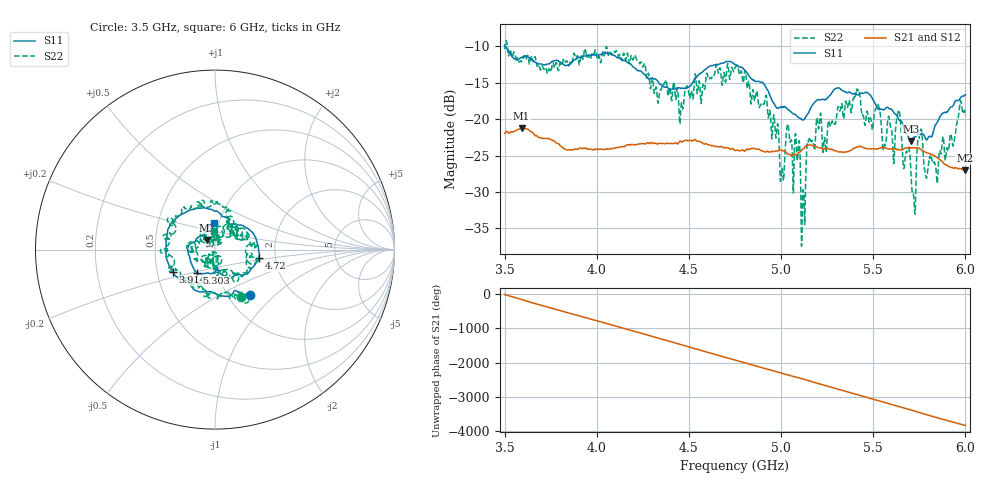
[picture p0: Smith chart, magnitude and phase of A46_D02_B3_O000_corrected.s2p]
! Created with skrf 1.9.0 (http://scikit-rf.org).
# Hz S RI R 50.0
!freq ReS11 ImS11 ReS21 ImS21 ReS12 ImS12 ReS22 ImS22
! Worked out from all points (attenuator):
!   1601 points, 3.5 GHz to 6 GHz, reference 50 ohm
!   highest |S21| = -21.27 dB at 3.592 GHz (marker M1); lowest = -27.0 dB at 5.997 GHz (marker M2)
!   lowest |S11| = -23.0 dB at 5.703 GHz (marker M3), VSWR 1.15, Z = 45.3 + j4.85 ohm
!   |S11| at or under -10 dB: 3.504 GHz to end of sweep
!   |S22| runs from -37.4 to -9.2 dB; largest |S21 - S12| = 0.00093
!   S11 on the Smith chart (normalised r, x): 3.5 GHz: 1.25, -0.71; 3.914 GHz: 0.60, -0.16; 4.72 GHz: 1.63, -0.17; 5.303 GHz: 0.79, -0.21; 6 GHz: 0.95, +0.28
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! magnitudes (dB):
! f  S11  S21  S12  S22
! 3.5 GHz  -9.9  -22.0  -21.9  -10.4
! 3.592 GHz  -11.5  -21.3  -21.3  -12.1
! 3.914 GHz  -11.5  -24.0  -23.9  -11.3
! 3.917 GHz  -11.5  -24.0  -24.0  -11.2
! 4.334 GHz  -15.0  -23.4  -23.3  -17.6
! 4.72 GHz  -12.1  -24.1  -24.1  -14.5
! 4.75 GHz  -12.5  -24.3  -24.2  -13.0
! 4.914 GHz  -15.5  -24.5  -24.5  -17.1
! 5.005 GHz  -18.3  -24.3  -24.3  -26.8
! 5.034 GHz  -18.6  -24.8  -24.7  -20.8
! 5.088 GHz  -19.6  -24.8  -24.8  -25.8
! 5.119 GHz  -20.1  -24.1  -24.0  -29.7
! 5.167 GHz  -18.2  -23.6  -23.6  -23.1
! 5.303 GHz  -15.8  -24.4  -24.4  -19.3
! 5.584 GHz  -18.5  -24.1  -24.1  -19.6
! 5.638 GHz  -20.0  -24.2  -24.2  -18.8
! 5.703 GHz  -23.0  -24.0  -23.9  -26.5
! 5.72 GHz  -22.5  -23.9  -23.9  -30.6
! 5.753 GHz  -22.1  -24.1  -24.0  -22.1
! 5.841 GHz  -20.7  -25.2  -25.1  -26.9
! 5.997 GHz  -16.7  -27.0  -26.9  -18.9
! 6 GHz  -16.7  -27.0  -27.0  -19.5
